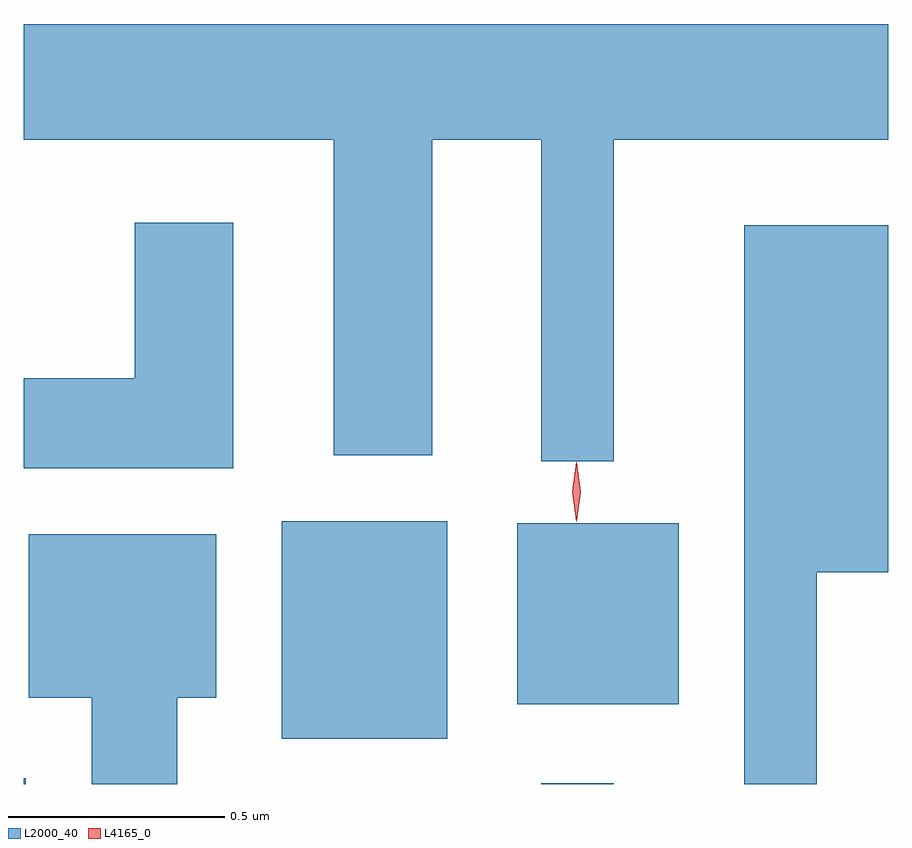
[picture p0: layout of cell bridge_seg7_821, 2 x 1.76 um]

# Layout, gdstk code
import gdstk
lib = gdstk.Library(unit=1e-6, precision=1e-09)
def R(c, l, rs):  # rectangles x0, y0, x1, y1
    for r in rs: c.add(gdstk.rectangle(r[:2], r[2:], *l))
def P(c, l, *ps):  # polygons
    for p in ps: c.add(gdstk.Polygon(p, *l))
L2000_40 = (2000, 40)
L4165_0 = (4165, 0)

bridge_seg7_821 = lib.new_cell('bridge_seg7_821')
R(bridge_seg7_821, L2000_40, [(382.504,1788.306,382.509,1788.319), (383.701,1788.306,383.869,1788.308), (383.101,1788.411,383.484,1788.914), (383.646,1788.491,384.019,1788.909)])
P(bridge_seg7_821, L2000_40, [(383.869,1789.796),(384.504,1789.796),(384.504,1790.064),(382.504,1790.064),(382.504,1789.796),(383.221,1789.796),(383.221,1789.066),(383.449,1789.066),(383.449,1789.796),(383.701,1789.796),(383.701,1789.053),(383.869,1789.053)],
  [(382.989,1789.604),(382.761,1789.604),(382.761,1789.244),(382.504,1789.244),(382.504,1789.036),(382.989,1789.036)],
  [(384.339,1788.796),(384.504,1788.796),(384.504,1789.599),(384.171,1789.599),(384.171,1788.306),(384.339,1788.306)],
  [(382.859,1788.506),(382.949,1788.506),(382.949,1788.884),(382.516,1788.884),(382.516,1788.506),(382.661,1788.506),(382.661,1788.306),(382.859,1788.306)])
P(bridge_seg7_821, L4165_0, [(383.782,1788.914),(383.773,1788.982),(383.782,1789.05),(383.783,1789.05),(383.783,1789.05),(383.793,1788.982),(383.783,1788.914),(383.783,1788.914)],
  [(383.782,1788.918),(383.773,1788.982),(383.782,1789.046),(383.783,1789.047),(383.783,1789.046),(383.793,1788.982),(383.783,1788.918),(383.783,1788.918)])

lib.write_gds('bridge_seg7_821.gds')
